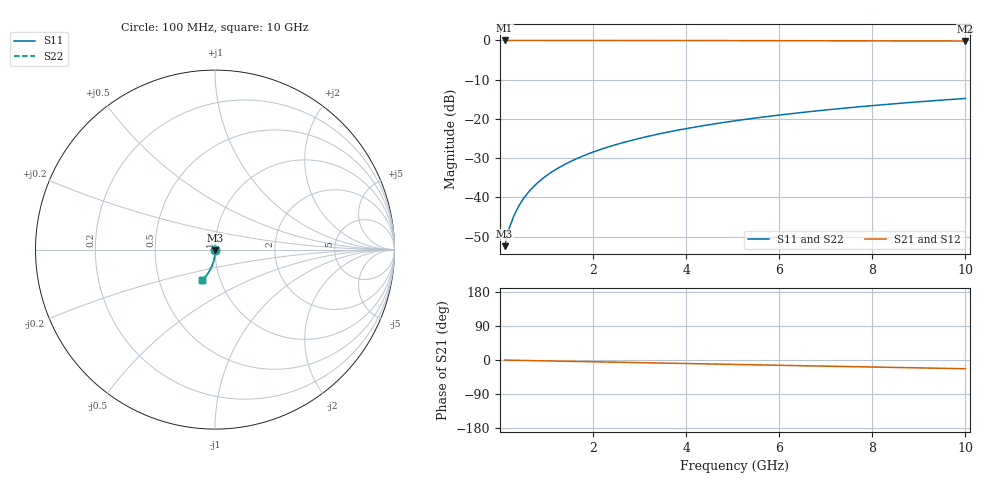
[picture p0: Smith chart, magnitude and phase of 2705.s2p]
# Hz S RI R 50.00
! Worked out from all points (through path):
!   100 points, 100 MHz to 10 GHz, reference 50 ohm
!   highest |S21| = -0.01 dB at 100 MHz (marker M1); lowest = -0.2 dB at 10 GHz (marker M2)
!   group delay of S21, straight-line fit = 6.41 ps
!   lowest |S11| = -52.4 dB at 100 MHz (marker M3), VSWR 1.00, Z = 50.1 - j0.19 ohm
!   |S11| at or under -10 dB: start of sweep to end of sweep
!   |S22| runs from -52.4 to -14.8 dB; largest |S21 - S12| = 0
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1e8  0.00146 -0.0019  0.9985 -0.00406  0.9985 -0.00406  0.00146 -0.0019
2e8  0.00145 -0.00379  0.9985 -0.00812  0.9985 -0.00812  0.00145 -0.00379
3e8  0.00141 -0.00569  0.9984 -0.0122  0.9984 -0.0122  0.00141 -0.00569
4e8  0.00136 -0.00759  0.9983 -0.0162  0.9983 -0.0162  0.00136 -0.00759
5e8  0.0013 -0.00948  0.9982 -0.0203  0.9982 -0.0203  0.0013 -0.00948
6e8  0.00121 -0.0114  0.9981 -0.0243  0.9981 -0.0243  0.00121 -0.0114
7e8  0.00111 -0.0133  0.998 -0.0284  0.998 -0.0284  0.00111 -0.0133
8e8  0.001 -0.0152  0.9978 -0.0324  0.9978 -0.0324  0.001 -0.0152
9e8  0.000871 -0.0171  0.9976 -0.0365  0.9976 -0.0365  0.000871 -0.0171
1.1e9  0.000564 -0.0208  0.9972 -0.0446  0.9972 -0.0446  0.000564 -0.0208
1.4e9  -1.13e-05 -0.0265  0.9965 -0.0567  0.9965 -0.0567  -1.13e-05 -0.0265
1.8e9  -0.000993 -0.034  0.9952 -0.0729  0.9952 -0.0729  -0.000993 -0.034
2.1e9  -0.00189 -0.0396  0.994 -0.085  0.994 -0.085  -0.00189 -0.0396
2.5e9  -0.0033 -0.0471  0.9921 -0.1011  0.9921 -0.1011  -0.0033 -0.0471
2.9e9  -0.00494 -0.0545  0.9899 -0.1171  0.9899 -0.1171  -0.00494 -0.0545
3.4e9  -0.00734 -0.0636  0.9868 -0.1371  0.9868 -0.1371  -0.00734 -0.0636
4.2e9  -0.0119 -0.078  0.9807 -0.1688  0.9807 -0.1688  -0.0119 -0.078
5.1e9  -0.0182 -0.0938  0.9725 -0.204  0.9725 -0.204  -0.0182 -0.0938
5.9e9  -0.0246 -0.1074  0.9639 -0.2348  0.9639 -0.2348  -0.0246 -0.1074
6.7e9  -0.032 -0.1204  0.9542 -0.2652  0.9542 -0.2652  -0.032 -0.1204
8.4e9  -0.0501 -0.1464  0.9299 -0.3279  0.9299 -0.3279  -0.0501 -0.1464
1e10  -0.07 -0.1682  0.9028 -0.3842  0.9028 -0.3842  -0.07 -0.1682
